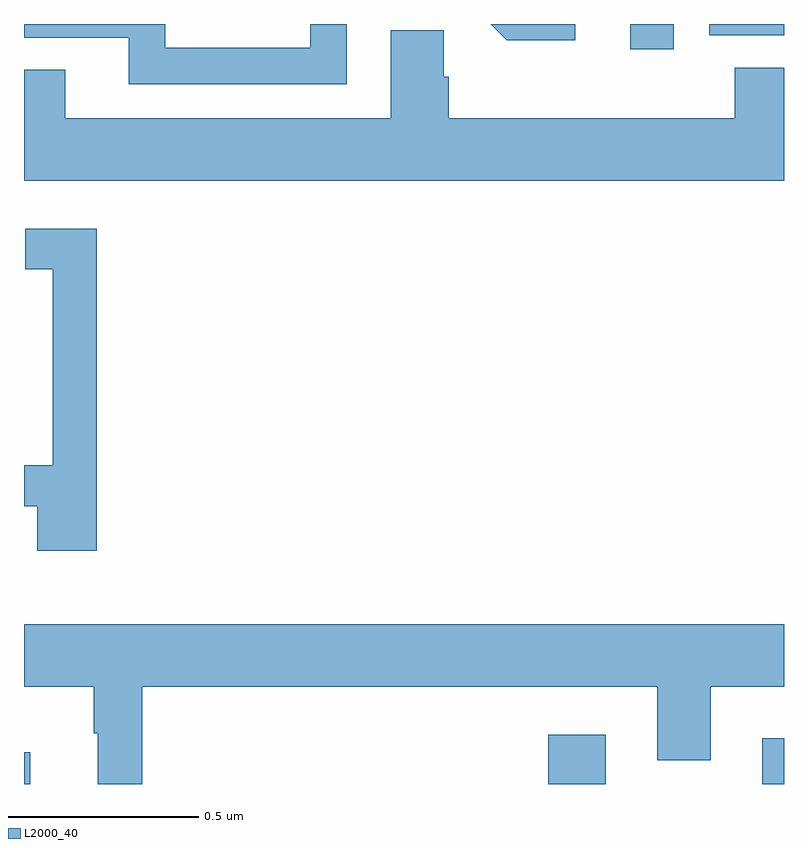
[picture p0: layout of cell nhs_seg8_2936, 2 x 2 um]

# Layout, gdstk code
import gdstk
lib = gdstk.Library(unit=1e-6, precision=1e-09)
def R(c, l, rs):  # rectangles x0, y0, x1, y1
    for r in rs: c.add(gdstk.rectangle(r[:2], r[2:], *l))
def P(c, l, *ps):  # polygons
    for p in ps: c.add(gdstk.Polygon(p, *l))
L2000_40 = (2000, 40)

nhs_seg8_2936 = lib.new_cell('nhs_seg8_2936')
R(nhs_seg8_2936, L2000_40, [(150,1126.9,150.016,1126.984), (151.379,1126.9,151.531,1127.029), (151.943,1126.9,152,1127.02), (151.595,1128.834,151.71,1128.9), (151.803,1128.87,152,1128.9)])
P(nhs_seg8_2936, L2000_40, [(151.45,1128.9),(151.228,1128.9),(151.271,1128.857),(151.45,1128.857)],
  [(150.849,1128.9),(150.753,1128.9),(150.753,1128.837),(150.372,1128.837),(150.372,1128.9),(150,1128.9),(150,1128.864),(150.275,1128.864),(150.275,1128.741),(150.849,1128.741)],
  [(152,1128.785),(151.871,1128.785),(151.871,1128.652),(151.118,1128.652),(151.118,1128.761),(151.104,1128.761),(151.104,1128.884),(150.965,1128.884),(150.965,1128.652),(150.109,1128.652),(150.109,1128.779),(150,1128.779),(150,1128.488),(152,1128.488)],
  [(150.191,1128.361),(150.003,1128.361),(150.003,1128.255),(150.075,1128.255),(150.075,1127.739),(150,1127.739),(150,1127.631),(150.035,1127.631),(150.035,1127.514),(150.191,1127.514)],
  [(150.311,1127.156),(151.667,1127.156),(151.667,1126.962),(151.807,1126.962),(151.807,1127.156),(152,1127.156),(152,1127.32),(150,1127.32),(150,1127.156),(150.183,1127.156),(150.183,1127.033),(150.194,1127.033),(150.194,1126.9),(150.311,1126.9)])

lib.write_gds('nhs_seg8_2936.gds')
